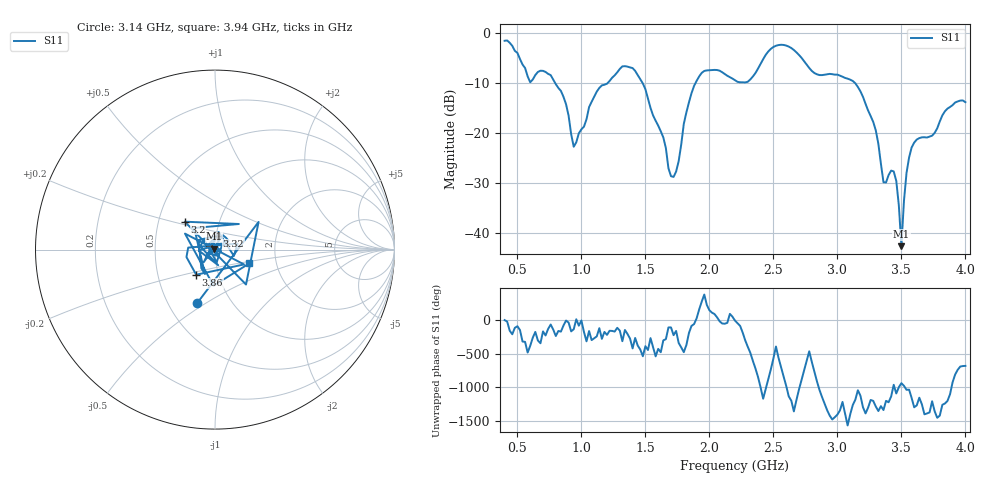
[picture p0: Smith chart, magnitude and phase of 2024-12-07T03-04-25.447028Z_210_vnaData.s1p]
!Created with skrf (http://scikit-rf.org).
# Hz S RI R 50.0
!freq ReS11 ImS11
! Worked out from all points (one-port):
!   181 points, 400 MHz to 4 GHz, reference 50 ohm
!   lowest |S11| = -42.6 dB at 3.5 GHz (marker M1), VSWR 1.01, Z = 49.4 + j0.485 ohm
!   |S11| at or under -10 dB: 794.3 MHz to 1.206 GHz (411.8 MHz wide, 41.2 % of centre); 1.477 GHz to 1.892 GHz (414.9 MHz wide, 24.6 % of centre); 3.137 GHz to end of sweep
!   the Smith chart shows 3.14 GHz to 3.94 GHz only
!   S11 on the Smith chart (normalised r, x): 3.14 GHz: 0.70, -0.46; 3.2 GHz: 0.68, +0.22; 3.32 GHz: 1.01, +0.16; 3.86 GHz: 0.78, -0.23; 3.94 GHz: 1.45, -0.23
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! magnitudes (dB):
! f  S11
! 400 MHz  -1.6
! 600 MHz  -9.9
! 720 MHz  -7.8
! 860 MHz  -12.8
! 940 MHz  -22.8
! 1.12 GHz  -11.7
! 1.3 GHz  -7.2
! 1.48 GHz  -10.1
! 1.64 GHz  -20.9
! 1.7 GHz  -28.7
! 1.76 GHz  -25.6
! 1.82 GHz  -15.9
! 1.92 GHz  -8.7
! 2.2 GHz  -9.5
! 2.5 GHz  -2.8
! 2.66 GHz  -3.4
! 3.1 GHz  -9.4
! 3.14 GHz  -10.1
! 3.2 GHz  -12.8
! 3.32 GHz  -22.2
! 3.36 GHz  -29.9
! 3.46 GHz  -29.6
! 3.5 GHz  -42.6
! 3.52 GHz  -33.6
! 3.56 GHz  -24.9
! 3.86 GHz  -15.1
! 3.94 GHz  -13.7
! 4 GHz  -13.9
